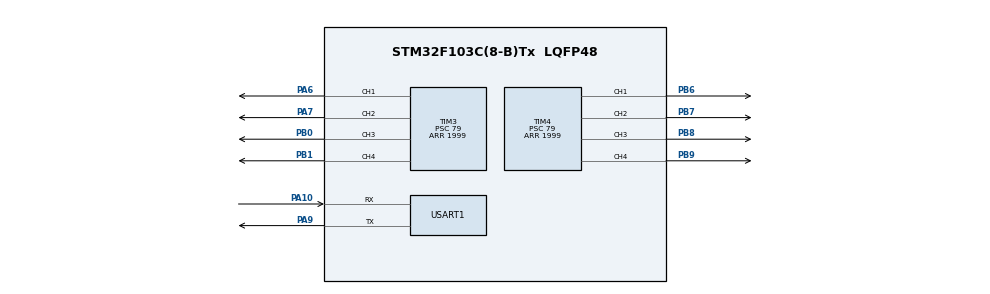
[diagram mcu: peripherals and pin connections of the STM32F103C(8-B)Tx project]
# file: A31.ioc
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Mcu.Family=STM32F1
Mcu.Name=STM32F103C(8-B)Tx
Mcu.Package=LQFP48
NVIC.PriorityGroup=NVIC_PRIORITYGROUP_4
NVIC.USART1_IRQn=true\:0\:0\:false\:false\:true\:true\:true
PA10.Mode=Asynchronous
PA10.Signal=USART1_RX
PA13.Mode=Serial_Wire
PA13.Signal=SYS_JTMS-SWDIO
PA14.Mode=Serial_Wire
PA14.Signal=SYS_JTCK-SWCLK
PA6.Signal=S_TIM3_CH1
PA7.Signal=S_TIM3_CH2
PA9.Mode=Asynchronous
PA9.Signal=USART1_TX
PB0.Signal=S_TIM3_CH3
PB1.Signal=S_TIM3_CH4
PB6.Signal=S_TIM4_CH1
PB7.Signal=S_TIM4_CH2
PB8.Signal=S_TIM4_CH3
PB9.Signal=S_TIM4_CH4
PD0-OSC_IN.Mode=HSE-External-Oscillator
PD0-OSC_IN.Signal=RCC_OSC_IN
PD1-OSC_OUT.Mode=HSE-External-Oscillator
PD1-OSC_OUT.Signal=RCC_OSC_OUT
ProjectManager.HeapSize=0x200
ProjectManager.StackSize=0x400
ProjectManager.TargetToolchain=MDK-ARM V5.27
RCC.APB1Freq_Value=8000000
RCC.APB2Freq_Value=8000000
SH.S_TIM3_CH1.0=TIM3_CH1,PWM Generation1 CH1
SH.S_TIM3_CH2.0=TIM3_CH2,PWM Generation2 CH2
SH.S_TIM3_CH3.0=TIM3_CH3,PWM Generation3 CH3
SH.S_TIM3_CH4.0=TIM3_CH4,PWM Generation4 CH4
SH.S_TIM4_CH1.0=TIM4_CH1,PWM Generation1 CH1
SH.S_TIM4_CH2.0=TIM4_CH2,PWM Generation2 CH2
SH.S_TIM4_CH3.0=TIM4_CH3,PWM Generation3 CH3
SH.S_TIM4_CH4.0=TIM4_CH4,PWM Generation4 CH4
TIM3.Channel-PWM\ Generation1\ CH1=TIM_CHANNEL_1
TIM3.Channel-PWM\ Generation2\ CH2=TIM_CHANNEL_2
TIM3.Channel-PWM\ Generation3\ CH3=TIM_CHANNEL_3
TIM3.Channel-PWM\ Generation4\ CH4=TIM_CHANNEL_4
TIM3.Period=1999
TIM3.Prescaler=79
TIM4.Channel-PWM\ Generation1\ CH1=TIM_CHANNEL_1
TIM4.Channel-PWM\ Generation2\ CH2=TIM_CHANNEL_2
TIM4.Channel-PWM\ Generation3\ CH3=TIM_CHANNEL_3
TIM4.Channel-PWM\ Generation4\ CH4=TIM_CHANNEL_4
TIM4.Period=1999
TIM4.Prescaler=79
USART1.VirtualMode=VM_ASYNC
board=custom

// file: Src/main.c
/* USER CODE BEGIN Header */
/**
  ******************************************************************************
  * @file           : main.c
  * @brief          : Main program body
  ******************************************************************************
  * @attention
  *
  * <h2><center>&copy; Copyright (c) 2020 STMicroelectronics.
  * All rights reserved.</center></h2>
  *
  * This software component is licensed by ST under BSD 3-Clause license,
  * the "License"; You may not use this file except in compliance with the
  * License. You may obtain a copy of the License at:
  *                        opensource.org/licenses/BSD-3-Clause
  *
  ******************************************************************************
  */
/* USER CODE END Header */

#include "main.h"
#include "tim.h"
#include "usart.h"
#include "gpio.h"

/* USER CODE BEGIN Includes */
#include "stdio.h"

/* USER CODE END Includes */

/* USER CODE BEGIN PTD */
uint8_t UART_temp[10];
int OUT;
int as=600;
/* USER CODE END PTD */

void SystemClock_Config(void);

/* USER CODE BEGIN 0 */
int fputc(int ch, FILE *f)
{
	HAL_UART_Transmit(&huart1, (uint8_t *)&ch, 1, 1000);
	return (ch);
}

void Motor1(int a){
	if (a>=0){
		__HAL_TIM_SetCompare(&htim3, TIM_CHANNEL_2, 0);
		__HAL_TIM_SetCompare(&htim3, TIM_CHANNEL_1,	a);
	}
	if (a<0){
		__HAL_TIM_SetCompare(&htim3, TIM_CHANNEL_1, 0);
		__HAL_TIM_SetCompare(&htim3, TIM_CHANNEL_2,	-a);
	}
}

void Motor2(int a){
	if (a>=0){
		__HAL_TIM_SetCompare(&htim3, TIM_CHANNEL_4, 0);
		__HAL_TIM_SetCompare(&htim3, TIM_CHANNEL_3,	a);
	}
	if (a<0){
		__HAL_TIM_SetCompare(&htim3, TIM_CHANNEL_3, 0);
		__HAL_TIM_SetCompare(&htim3, TIM_CHANNEL_4,	-a);
	}
}

void Motor3(int a){
	if (a>=0){
		__HAL_TIM_SetCompare(&htim4, TIM_CHANNEL_2, 0);
		__HAL_TIM_SetCompare(&htim4, TIM_CHANNEL_1,	a);
	}
	if (a<0){
		__HAL_TIM_SetCompare(&htim4, TIM_CHANNEL_1, 0);
		__HAL_TIM_SetCompare(&htim4, TIM_CHANNEL_2,	-a);
	}
}

void Motor4(int a){
	if (a>=0){
		__HAL_TIM_SetCompare(&htim4, TIM_CHANNEL_4, 0);
		__HAL_TIM_SetCompare(&htim4, TIM_CHANNEL_3,	a);
	}
	if (a<0){
		__HAL_TIM_SetCompare(&htim4, TIM_CHANNEL_3, 0);
		__HAL_TIM_SetCompare(&htim4, TIM_CHANNEL_4,	-a);
	}
}
void LL(int a){
	Motor1(a);
	Motor3(a);
}
void RR(int a){
	Motor2(a);
	Motor4(a);
}

void LR(int a){
	if(a>0){
		LL(as-(a/5)*(a/5));
		RR(as);
	}else{
		RR(as-(a/5)*(a/5));
		LL(as);
	}
}
/* USER CODE END 0 */

int main(void)
{

  /* MCU Configuration--------------------------------------------------------*/

  /* Reset of all peripherals, Initializes the Flash interface and the Systick. */
  HAL_Init();

  /* Configure the system clock */
  SystemClock_Config();

  /* Initialize all configured peripherals */
  MX_GPIO_Init();
  MX_TIM3_Init();
  MX_TIM4_Init();
  MX_USART1_UART_Init();
  /* USER CODE BEGIN 2 */
	HAL_UART_Receive_IT(&huart1,(uint8_t *)UART_temp,3);
	HAL_TIM_PWM_Start(&htim3,TIM_CHANNEL_1);
	HAL_TIM_PWM_Start(&htim3,TIM_CHANNEL_2);
	HAL_TIM_PWM_Start(&htim3,TIM_CHANNEL_3);
	HAL_TIM_PWM_Start(&htim3,TIM_CHANNEL_4);

	HAL_TIM_PWM_Start(&htim4,TIM_CHANNEL_1);
	HAL_TIM_PWM_Start(&htim4,TIM_CHANNEL_2);
	HAL_TIM_PWM_Start(&htim4,TIM_CHANNEL_3);
	HAL_TIM_PWM_Start(&htim4,TIM_CHANNEL_4);
  /* USER CODE END 2 */

  /* Infinite loop */
  while (1)
  {

  }
}

void SystemClock_Config(void)
{
  RCC_OscInitTypeDef RCC_OscInitStruct = {0};
  RCC_ClkInitTypeDef RCC_ClkInitStruct = {0};

  /** Initializes the CPU, AHB and APB busses clocks
  */
  RCC_OscInitStruct.OscillatorType = RCC_OSCILLATORTYPE_HSI;
  RCC_OscInitStruct.HSIState = RCC_HSI_ON;
  RCC_OscInitStruct.HSICalibrationValue = RCC_HSICALIBRATION_DEFAULT;
  RCC_OscInitStruct.PLL.PLLState = RCC_PLL_NONE;
  if (HAL_RCC_OscConfig(&RCC_OscInitStruct) != HAL_OK)
  {
    Error_Handler();
  }
  /** Initializes the CPU, AHB and APB busses clocks
  */
  RCC_ClkInitStruct.ClockType = RCC_CLOCKTYPE_HCLK|RCC_CLOCKTYPE_SYSCLK
                              |RCC_CLOCKTYPE_PCLK1|RCC_CLOCKTYPE_PCLK2;
  RCC_ClkInitStruct.SYSCLKSource = RCC_SYSCLKSOURCE_HSI;
  RCC_ClkInitStruct.AHBCLKDivider = RCC_SYSCLK_DIV1;
  RCC_ClkInitStruct.APB1CLKDivider = RCC_HCLK_DIV1;
  RCC_ClkInitStruct.APB2CLKDivider = RCC_HCLK_DIV1;

  if (HAL_RCC_ClockConfig(&RCC_ClkInitStruct, FLASH_LATENCY_0) != HAL_OK)
  {
    Error_Handler();
  }
}

/* USER CODE BEGIN 4 */
void HAL_UART_RxCpltCallback(UART_HandleTypeDef *huart){
	 if(huart->Instance==USART1){
		 if(UART_temp[0]==28){
			 OUT=((uint16_t)(UART_temp[1]<<8) + UART_temp[2])-556;

			 LR(OUT);
		}
		HAL_UART_Receive_IT(&huart1,(uint8_t *)UART_temp,3);
	 }
}
/* USER CODE END 4 */

void Error_Handler(void)
{
}

/************************ (C) COPYRIGHT STMicroelectronics *****END OF FILE****/
